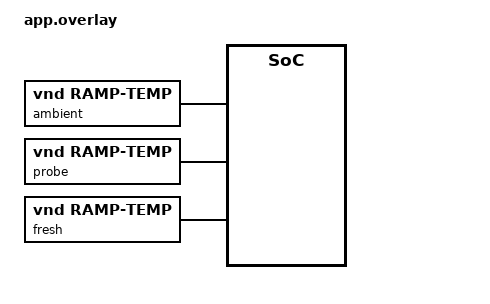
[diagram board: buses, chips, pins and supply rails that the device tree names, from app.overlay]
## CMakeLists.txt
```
# SPDX-License-Identifier: Apache-2.0
#
# The test image: every file in ../src except main.c, plus the ztest suites
# in src/. -DMILESTONE=m2 builds only that milestone's suite, -DMILESTONE=all
# (the default) builds them all.
cmake_minimum_required(VERSION 3.20.0)

get_filename_component(APP_ROOT ${CMAKE_CURRENT_SOURCE_DIR}/.. ABSOLUTE)

# The app's bindings (dts/bindings/) and its prj.conf, then ours on top so
# the test settings win. The devicetree comes from tests/app.overlay, not the
# app's: the tests need sensors with known values.
list(APPEND DTS_ROOT ${APP_ROOT})
set(CONF_FILE "${APP_ROOT}/prj.conf;${CMAKE_CURRENT_SOURCE_DIR}/prj.conf")

find_package(Zephyr REQUIRED HINTS $ENV{ZEPHYR_BASE})
project(sensor_node_tests)

set(MILESTONE all CACHE STRING "Which milestone's tests to build: m1 to m5, or all")

file(GLOB app_sources CONFIGURE_DEPENDS ${APP_ROOT}/src/*.c)
list(REMOVE_ITEM app_sources ${APP_ROOT}/src/main.c)

if(MILESTONE STREQUAL "all")
  file(GLOB test_sources src/test_*.c)
else()
  set(test_sources src/test_${MILESTONE}.c)
endif()

target_sources(app PRIVATE ${app_sources} ${test_sources})
target_include_directories(app PRIVATE ${APP_ROOT}/src)
```

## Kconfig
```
# The test image uses the app's Kconfig options (which also source Zephyr's).
rsource "../Kconfig"
```

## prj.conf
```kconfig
# Applied after the app's prj.conf, so these win.
CONFIG_ZTEST=y

# Kernel asserts on: a mutex taken in a k_timer expiry (or any other ISR)
# stops the test with "ASSERTION FAIL ... mutexes cannot be used inside
# ISRs" instead of misbehaving quietly.
CONFIG_ASSERT=y

CONFIG_SENSOR=y

# The tests drive the shell through the dummy backend, not a UART.
CONFIG_SHELL=y
CONFIG_SHELL_BACKEND_DUMMY=y
CONFIG_SHELL_BACKEND_SERIAL=n

# Log lines go straight to stdout instead of into the shell output the
# tests read.
CONFIG_LOG=y
CONFIG_LOG_MODE_MINIMAL=y
```

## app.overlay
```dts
/*
 * Sensors with known values for the tests. The app samples "ambient" through
 * the ambient-temp alias; milestone 2's tests use "probe" and "fresh" on
 * their own, so nothing else disturbs their ramps.
 */

/ {
	aliases {
		ambient-temp = &ambient;
	};

	/* 20.000, 20.500, 21.000, 21.500, then again */
	ambient: ambient-sensor {
		compatible = "vnd,ramp-temp";
		start-millicelsius = <20000>;
		step-millicelsius = <500>;
		ramp-steps = <4>;
	};

	/* 5.000, 5.250, 5.500, then again */
	probe: probe-sensor {
		compatible = "vnd,ramp-temp";
		start-millicelsius = <5000>;
		step-millicelsius = <250>;
		ramp-steps = <3>;
	};

	/* 1.250, 2.250, then again. Only one test reads it. */
	fresh: fresh-sensor {
		compatible = "vnd,ramp-temp";
		start-millicelsius = <1250>;
		step-millicelsius = <1000>;
		ramp-steps = <2>;
	};
};
```

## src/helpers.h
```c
/*
 * Shared by the m3 to m5 suites: run a shell command through the dummy
 * backend and pick numbers out of what it printed.
 */
#ifndef HELPERS_H
#define HELPERS_H

#include <stdbool.h>
#include <stdint.h>
#include <stdio.h>
#include <string.h>

#include <zephyr/kernel.h>
#include <zephyr/shell/shell.h>
#include <zephyr/shell/shell_dummy.h>
#include <zephyr/ztest.h>

#if !defined(CONFIG_SENSOR_NODE_SAMPLE_MS) || !defined(CONFIG_SENSOR_NODE_REPORT_MS)
#error "Finish milestone 1 first: the Kconfig options SENSOR_NODE_SAMPLE_MS and SENSOR_NODE_REPORT_MS are missing"
#endif

#define SAMPLE_MS CONFIG_SENSOR_NODE_SAMPLE_MS
#define REPORT_MS CONFIG_SENSOR_NODE_REPORT_MS

/* Suite setup: give the shell thread and the app's threads time to start. */
static inline void *settle(void)
{
	k_msleep(100);
	return NULL;
}

/* Runs cmd, copies what it printed into out and returns its result (0 = ok). */
static inline int run_cmd(const char *cmd, char *out, size_t len)
{
	const struct shell *sh = shell_backend_dummy_get_ptr();
	size_t size;

	(void)shell_backend_dummy_get_output(sh, &size); /* drop older output */
	int ret = shell_execute_cmd(sh, cmd);
	const char *text = shell_backend_dummy_get_output(sh, &size);

	snprintf(out, len, "%s", text);
	return ret;
}

/* Parses "20.750" or "-1.250" (exactly three decimals) or "12" into thousandths. */
static inline bool parse_milli(const char *s, long long *value)
{
	bool negative = false;
	long long whole = 0;
	long long frac = 0;
	int digits = 0;

	if (*s == '-') {
		negative = true;
		s++;
	}
	for (; *s >= '0' && *s <= '9'; s++, digits++) {
		whole = whole * 10 + (*s - '0');
	}
	if (digits == 0) {
		return false;
	}
	if (*s == '.') {
		s++;
		for (digits = 0; *s >= '0' && *s <= '9'; s++, digits++) {
			frac = frac * 10 + (*s - '0');
		}
		if (digits != 3) {
			return false;
		}
	}
	*value = (negative ? -1 : 1) * (whole * 1000 + frac);
	return true;
}

/* Finds key (e.g. "min=") in out and parses the number after it. */
static inline bool field_milli(const char *out, const char *key, long long *value)
{
	const char *at = strstr(out, key);

	return at != NULL && parse_milli(at + strlen(key), value);
}

/* Same, for a whole number such as "samples=12". */
static inline bool field_count(const char *out, const char *key, long long *value)
{
	const char *at = strstr(out, key);
	long long milli;

	if (at == NULL || !parse_milli(at + strlen(key), &milli) || milli % 1000 != 0) {
		return false;
	}
	*value = milli / 1000;
	return true;
}

/* run_cmd("node stats") that must succeed and contain key. */
static inline long long stats_count(const char *key)
{
	char out[256];
	long long value = -1;

	zassert_ok(run_cmd("node stats", out, sizeof(out)), "`node stats` failed. It printed: %s", out);
	zassert_true(field_count(out, key, &value), "`node stats` printed \"%s\", with no whole number after %s", out, key);
	return value;
}

#endif /* HELPERS_H */
```

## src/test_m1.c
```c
/* Milestone 1: the app's own Kconfig options exist with the right defaults. */
#include <zephyr/ztest.h>

ZTEST(m1_kconfig, test_sample_period_option)
{
#ifdef CONFIG_SENSOR_NODE_SAMPLE_MS
	zassert_equal(CONFIG_SENSOR_NODE_SAMPLE_MS, 100, "SENSOR_NODE_SAMPLE_MS should default to 100, got %d",
		      CONFIG_SENSOR_NODE_SAMPLE_MS);
#else
	zassert_unreachable("Kconfig has no SENSOR_NODE_SAMPLE_MS option (int, default 100)");
#endif
}

ZTEST(m1_kconfig, test_report_period_option)
{
#ifdef CONFIG_SENSOR_NODE_REPORT_MS
	zassert_equal(CONFIG_SENSOR_NODE_REPORT_MS, 1000, "SENSOR_NODE_REPORT_MS should default to 1000, got %d",
		      CONFIG_SENSOR_NODE_REPORT_MS);
#else
	zassert_unreachable("Kconfig has no SENSOR_NODE_REPORT_MS option (int, default 1000)");
#endif
}

ZTEST(m1_kconfig, test_queue_length_option)
{
#ifdef CONFIG_SENSOR_NODE_QUEUE_LEN
	zassert_equal(CONFIG_SENSOR_NODE_QUEUE_LEN, 8, "SENSOR_NODE_QUEUE_LEN should default to 8, got %d",
		      CONFIG_SENSOR_NODE_QUEUE_LEN);
#else
	zassert_unreachable("Kconfig has no SENSOR_NODE_QUEUE_LEN option (int, default 8)");
#endif
}

ZTEST_SUITE(m1_kconfig, NULL, NULL, NULL, NULL, NULL);
```

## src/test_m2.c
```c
/*
 * Milestone 2: the vnd,ramp-temp driver, through the standard sensor API.
 * Uses the probe and fresh nodes from tests/app.overlay. If this fails to
 * link with "undefined reference to __device_dts_ord_...", no driver
 * instance exists for those nodes yet.
 */
#include <errno.h>
#include <stdint.h>

#include <zephyr/device.h>
#include <zephyr/devicetree.h>
#include <zephyr/drivers/sensor.h>
#include <zephyr/ztest.h>

static const struct device *const ambient = DEVICE_DT_GET(DT_ALIAS(ambient_temp));
static const struct device *const probe = DEVICE_DT_GET(DT_NODELABEL(probe));
static const struct device *const fresh = DEVICE_DT_GET(DT_NODELABEL(fresh));

static int32_t read_milli(const struct device *dev, struct sensor_value *val)
{
	zassert_ok(sensor_sample_fetch(dev), "sensor_sample_fetch(%s) failed", dev->name);
	zassert_ok(sensor_channel_get(dev, SENSOR_CHAN_AMBIENT_TEMP, val),
		   "sensor_channel_get(%s, SENSOR_CHAN_AMBIENT_TEMP) failed", dev->name);
	return val->val1 * 1000 + val->val2 / 1000;
}

ZTEST(m2_driver, test_every_instance_is_ready)
{
	zassert_true(device_is_ready(ambient), "the ambient-temp device isn't ready");
	zassert_true(device_is_ready(probe), "the probe device isn't ready");
	zassert_true(device_is_ready(fresh), "the fresh device isn't ready");
}

ZTEST(m2_driver, test_first_samples_follow_the_devicetree)
{
	struct sensor_value val;

	/* start 1250, step 1000, 2 steps */
	zassert_equal(read_milli(fresh, &val), 1250, "the first sample should be start-millicelsius (1.250)");
	zassert_equal(val.val1, 1, "1.250 C is val1 = 1, got %d", val.val1);
	zassert_equal(val.val2, 250000, "1.250 C is val2 = 250000 (millionths), got %d", val.val2);
	zassert_equal(read_milli(fresh, &val), 2250, "the second sample should be start + step (2.250)");
	zassert_equal(read_milli(fresh, &val), 1250, "after ramp-steps samples the ramp starts over (1.250)");
}

ZTEST(m2_driver, test_ramp_steps_and_wraps)
{
	struct sensor_value val;
	int32_t prev = read_milli(probe, &val);

	/* start 5000, step 250, 3 steps: 5.000, 5.250, 5.500, 5.000, ... */
	zassert_true(prev == 5000 || prev == 5250 || prev == 5500, "%d isn't on the probe's ramp", prev);
	for (int i = 0; i < 7; i++) {
		int32_t next = read_milli(probe, &val);
		int32_t want = prev == 5500 ? 5000 : prev + 250;

		zassert_equal(next, want, "after %d the probe should give %d, got %d", prev, want, next);
		prev = next;
	}
}

ZTEST(m2_driver, test_other_channels_are_not_supported)
{
	struct sensor_value val;

	zassert_equal(sensor_sample_fetch_chan(probe, SENSOR_CHAN_ACCEL_X), -ENOTSUP,
		      "fetching an accelerometer channel should return -ENOTSUP");
	zassert_ok(sensor_sample_fetch(probe), "sensor_sample_fetch(probe) failed");
	zassert_equal(sensor_channel_get(probe, SENSOR_CHAN_ACCEL_X, &val), -ENOTSUP,
		      "reading an accelerometer channel should return -ENOTSUP");
}

ZTEST_SUITE(m2_driver, NULL, NULL, NULL, NULL, NULL);
```

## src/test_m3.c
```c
/*
 * Milestone 3: sampling, the queue and the statistics, seen through
 * `node stats` and `node reset`. The ambient sensor in tests/app.overlay
 * ramps 20.000, 20.500, 21.000, 21.500.
 */
#include "helpers.h"

ZTEST(m3_pipeline, test_stats_prints_every_field)
{
	static const char *const keys[] = {"samples=", "min=", "max=", "mean=", "dropped="};
	char out[256];

	zassert_ok(run_cmd("node stats", out, sizeof(out)), "`node stats` failed. It printed: %s", out);
	for (size_t i = 0; i < ARRAY_SIZE(keys); i++) {
		zassert_not_null(strstr(out, keys[i]), "`node stats` printed \"%s\", which has no %s", out, keys[i]);
	}
}

ZTEST(m3_pipeline, test_reset_starts_from_zero)
{
	char out[256];
	long long samples = -1;

	zassert_ok(run_cmd("node reset", out, sizeof(out)), "`node reset` failed. It printed: %s", out);
	zassert_ok(run_cmd("node stats", out, sizeof(out)), "`node stats` failed. It printed: %s", out);
	zassert_true(field_count(out, "samples=", &samples), "no samples= in \"%s\"", out);
	zassert_true(samples <= 1, "right after a reset samples should be 0, got %lld", samples);
	if (samples == 0) {
		zassert_not_null(strstr(out, "min=n/a"), "with no samples, min should be n/a: \"%s\"", out);
		zassert_not_null(strstr(out, "mean=n/a"), "with no samples, mean should be n/a: \"%s\"", out);
	}
}

ZTEST(m3_pipeline, test_ten_periods_give_ten_samples)
{
	char out[256];
	long long samples = -1, min = 0, max = 0, mean = 0, dropped = -1;

	zassert_ok(run_cmd("node reset", out, sizeof(out)), "`node reset` failed");
	k_msleep(10 * SAMPLE_MS);
	zassert_ok(run_cmd("node stats", out, sizeof(out)), "`node stats` failed");

	zassert_true(field_count(out, "samples=", &samples), "no samples= in \"%s\"", out);
	zassert_true(samples >= 9 && samples <= 11, "10 sample periods should give about 10 samples, got %lld",
		     samples);
	zassert_true(field_milli(out, "min=", &min), "min= should be a number with 3 decimals: \"%s\"", out);
	zassert_true(field_milli(out, "max=", &max), "max= should be a number with 3 decimals: \"%s\"", out);
	zassert_true(field_milli(out, "mean=", &mean), "mean= should be a number with 3 decimals: \"%s\"", out);
	zassert_equal(min, 20000, "the ramp's lowest value is 20.000: \"%s\"", out);
	zassert_equal(max, 21500, "the ramp's highest value is 21.500: \"%s\"", out);
	zassert_true(mean >= 20500 && mean <= 21000, "the mean of the ramp should be close to 20.750: \"%s\"", out);
	zassert_true(field_count(out, "dropped=", &dropped), "no dropped= in \"%s\"", out);
	zassert_equal(dropped, 0, "nothing should be dropped under normal load: \"%s\"", out);
}

ZTEST_SUITE(m3_pipeline, NULL, settle, NULL, NULL, NULL);
```

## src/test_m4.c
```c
/* Milestone 4: the periodic report, counted by `node stats` as reports=. */
#include "helpers.h"

ZTEST(m4_reports, test_reports_arrive_every_period)
{
	char out[256];

	zassert_ok(run_cmd("node reset", out, sizeof(out)), "`node reset` failed");
	zassert_true(stats_count("reports=") <= 1, "a reset should set reports back to 0");

	k_msleep(5 * REPORT_MS + REPORT_MS / 2);
	long long reports = stats_count("reports=");

	zassert_true(reports >= 5 && reports <= 6, "5.5 report periods should give 5 or 6 reports, got %lld", reports);
}

ZTEST(m4_reports, test_reports_leave_the_stats_alone)
{
	char out[256];

	zassert_ok(run_cmd("node reset", out, sizeof(out)), "`node reset` failed");
	k_msleep(2 * REPORT_MS + REPORT_MS / 2);

	long long samples = stats_count("samples=");
	long long want = (2 * REPORT_MS + REPORT_MS / 2) / SAMPLE_MS;

	zassert_true(stats_count("reports=") >= 2, "2.5 report periods should give at least 2 reports");
	zassert_true(samples >= want - 2 && samples <= want + 2,
		     "a report must not reset the statistics: expected about %lld samples since the reset, got %lld",
		     want, samples);
}

ZTEST_SUITE(m4_reports, NULL, settle, NULL, NULL, NULL);
```

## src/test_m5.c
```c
/* Milestone 5: `node read` and `node period <ms>`. */
#include "helpers.h"

static void restore_period(void *fixture)
{
	char out[128];

	ARG_UNUSED(fixture);
	(void)run_cmd("node period " STRINGIFY(CONFIG_SENSOR_NODE_REPORT_MS), out, sizeof(out));
}

ZTEST(m5_controls, test_read_prints_a_ramp_value)
{
	char out[256];
	long long value = 0;

	zassert_ok(run_cmd("node read", out, sizeof(out)), "`node read` failed. It printed: %s", out);
	zassert_true(field_milli(out, "ambient: ", &value), "expected \"ambient: 20.500 C\", got \"%s\"", out);
	zassert_true(value == 20000 || value == 20500 || value == 21000 || value == 21500,
		     "%lld isn't on the ambient ramp (20.000 to 21.500)", value);
	zassert_not_null(strstr(out, " C"), "the reading should end with the unit, \" C\": \"%s\"", out);
}

ZTEST(m5_controls, test_period_changes_the_report_rate)
{
	char out[256];

	zassert_ok(run_cmd("node period 200", out, sizeof(out)), "`node period 200` failed. It printed: %s", out);
	zassert_ok(run_cmd("node reset", out, sizeof(out)), "`node reset` failed");
	k_msleep(1100);

	long long reports = stats_count("reports=");

	zassert_true(reports >= 4 && reports <= 6, "1.1 s at a 200 ms period should give about 5 reports, got %lld",
		     reports);
}

ZTEST(m5_controls, test_bad_periods_are_rejected)
{
	static const char *const bad[] = {
		"node period abc", "node period 70000", "node period 200x",
		"node period 5",   "node period -100",  "node period",
	};
	char out[256];

	for (size_t i = 0; i < ARRAY_SIZE(bad); i++) {
		zassert_not_equal(run_cmd(bad[i], out, sizeof(out)), 0, "`%s` should fail, but returned 0", bad[i]);
	}

	/* And the period is still the default one. */
	zassert_ok(run_cmd("node reset", out, sizeof(out)), "`node reset` failed");
	k_msleep(REPORT_MS + REPORT_MS / 2);
	long long reports = stats_count("reports=");

	zassert_true(reports >= 1 && reports <= 2,
		     "after only bad commands the period should still be %d ms: got %lld reports in 1.5 periods",
		     REPORT_MS, reports);
}

ZTEST_SUITE(m5_controls, NULL, settle, NULL, restore_period, NULL);
```
